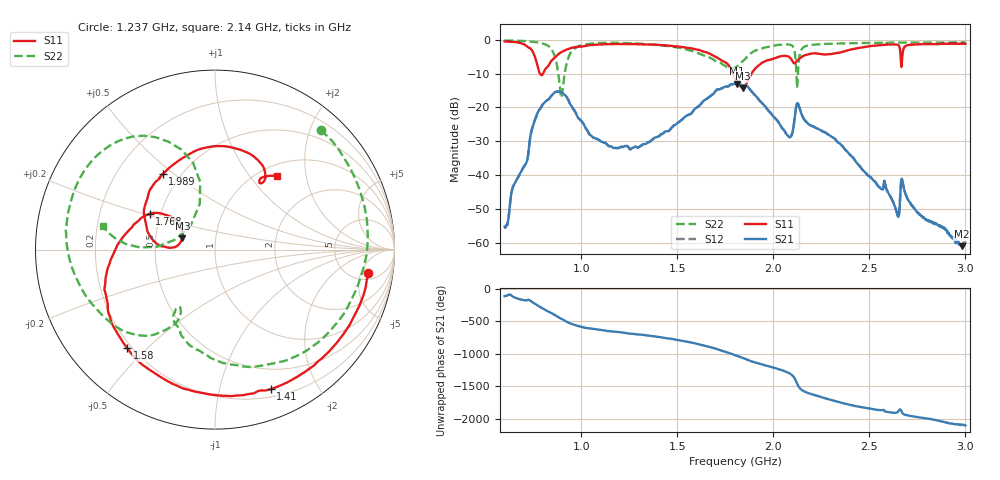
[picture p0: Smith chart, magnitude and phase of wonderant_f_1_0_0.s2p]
#  HZ  S  RI  R  50.00
! Rohde & Schwarz ZVB8 2Ports - Version 2.81 - 1145.1010k08 SN: 100113
! Date: 2016-05-17 22:37:07
! Measurements: S11 S21 S12 S22
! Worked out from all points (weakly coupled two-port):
!   1000 points, 600 MHz to 3 GHz, reference 50 ohm
!   highest |S21| = -12.99 dB at 1.811 GHz (marker M1); lowest = -61.0 dB at 2.981 GHz (marker M2)
!   lowest |S11| = -14.3 dB at 1.84 GHz (marker M3), VSWR 1.48, Z = 34.4 + j4.57 ohm
!   |S11| at or under -10 dB: 783.9 MHz to 800.4 MHz (16.5 MHz wide, 2.08 % of centre); 1.79 GHz to 1.886 GHz (96.29 MHz wide, 5.24 % of centre)
!   |S22| runs from -17.2 to -0.2 dB; largest |S21 - S12| = 0.0019
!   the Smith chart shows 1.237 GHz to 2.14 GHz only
!   S11 on the Smith chart (normalised r, x): 1.237 GHz: 6.54, -6.73; 1.41 GHz: 0.28, -1.44; 1.58 GHz: 0.18, -0.44; 1.768 GHz: 0.44, +0.21; 1.989 GHz: 0.40, +0.46; 2.14 GHz: 1.19, +1.37
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6e8  -0.8068 0.4887  -0.000788 -0.00153  -0.000744 -0.00158  -0.9455 0.2374
7.057057e8  -0.2321 0.8077  -0.0139 0.00037  -0.0139 0.000469  -0.711 0.638
7.96997e8  -0.0764 0.2941  0.0606 0.0903  0.06 0.0909  -0.2436 0.8453
8.642643e8  -0.2268 0.5056  0.1049 -0.132  0.1051 -0.1317  0.3447 0.4018
9.051051e8  -0.1293 0.6646  -0.0843 -0.1352  -0.0832 -0.1358  -0.1353 -0.1642
1.001201e9  0.2959 0.736  -0.0415 0.0463  -0.0415 0.0461  -0.4823 0.6713
1.236637e9  0.8523 -0.1317  0.0227 0.0145  0.0226 0.0146  0.5906 0.6662
1.4e9  0.3596 -0.7592  0.034 -0.0148  0.0341 -0.0147  0.83 -0.0933
1.40961e9  0.3102 -0.7775  0.0348 -0.0173  0.0348 -0.0173  0.815 -0.1431
1.58018e9  -0.4895 -0.5488  -0.0349 -0.0794  -0.0347 -0.0796  0.1741 -0.6528
1.767568e9  -0.3638 0.2002  -0.00432 0.206  -0.00477 0.206  -0.2058 -0.32
1.801201e9  -0.2147 0.1648  0.1254 0.1832  0.1241 0.1839  -0.1907 -0.3374
1.810811e9  -0.1939 0.1363  0.1575 0.1593  0.1571 0.1595  -0.1908 -0.3543
1.83964e9  -0.1812 0.0639  0.206 0.053  0.2059 0.0538  -0.2316 -0.4208
1.988589e9  -0.2918 0.42  -0.047 -0.0653  -0.0468 -0.0657  -0.7988 -0.0948
2.101502e9  0.2734 0.381  -0.0049 0.0454  -0.00509 0.0452  -0.5005 0.6193
2.13994e9  0.3433 0.4117  -0.0135 -0.0894  -0.0129 -0.0898  -0.6268 0.1317
2.2e9  0.6057 0.1563  -0.053 0.00389  -0.0532 0.00367  -0.5771 0.6088
2.433033e9  0.1634 -0.7268  0.015 -0.00238  0.0151 -0.00227  0.3145 0.8352
2.601201e9  -0.5759 -0.623  -0.000814 -0.00516  -0.000785 -0.00524  0.7857 0.443
2.980781e9  -0.696 0.5279  0.000351 0.000814  0.000403 0.000889  0.5836 -0.7038
3e9  -0.6564 0.574  0.00055 0.000833  0.000538 0.000773  0.5434 -0.735
